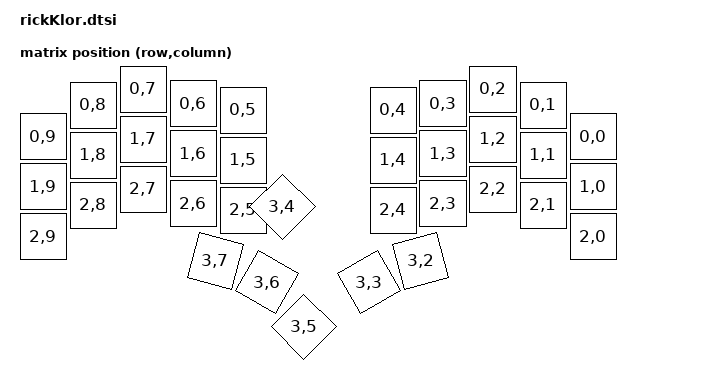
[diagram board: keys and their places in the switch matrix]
#include <physical_layouts.dtsi>
#include <dt-bindings/zmk/matrix_transform.h>

/ {
	chosen {
		zmk,physical-layout = &physical_layout0;
	};
	kscan0: kscan0 {
		compatible = "zmk,kscan-gpio-matrix";
		diode-direction = "col2row";
		wakeup-source;
		
	};
	
	transform: matrix_transform {
		compatible = "zmk,matrix-transform";
		rows = <4>;
		columns = <10>;
		
		map = <
		RC(0, 9) RC(0, 8) RC(0, 7) RC(0, 6) RC(0, 5) RC(0, 4) RC(0, 3) RC(0, 2) RC(0, 1) RC(0, 0)
		RC(1, 9) RC(1, 8) RC(1, 7) RC(1, 6) RC(1, 5) RC(1, 4) RC(1, 3) RC(1, 2) RC(1, 1) RC(1, 0)
		RC(2, 9) RC(2, 8) RC(2, 7) RC(2, 6) RC(2, 5) RC(2, 4) RC(2, 3) RC(2, 2) RC(2, 1) RC(2, 0)
		RC(3, 7) RC(3, 6) RC(3, 5) RC(3, 4) RC(3, 3) RC(3, 2)
		>;
	};
	
	
	physical_layout0: physical_layout_0 {
		compatible = "zmk,physical-layout";
		display-name = "Split Ortho 4x10";
		transform = <&transform>;
		kscan = <&kscan>;
		keys//                     w   h    x    y     rot    rx    ry
		= <&key_physical_attrs 100 100    0   95       0     0     0>
		, <&key_physical_attrs 100 100  100   32       0     0     0>
		, <&key_physical_attrs 100 100  200    0       0     0     0>
		, <&key_physical_attrs 100 100  300   29       0     0     0>
		, <&key_physical_attrs 100 100  400   42       0     0     0>
		, <&key_physical_attrs 100 100  700   42       0     0     0>
		, <&key_physical_attrs 100 100  800   29       0     0     0>
		, <&key_physical_attrs 100 100  900    0       0     0     0>
		, <&key_physical_attrs 100 100 1000   32       0     0     0>
		, <&key_physical_attrs 100 100 1100   95       0     0     0>
		, <&key_physical_attrs 100 100    0  195       0     0     0>
		, <&key_physical_attrs 100 100  100  132       0     0     0>
		, <&key_physical_attrs 100 100  200  100       0     0     0>
		, <&key_physical_attrs 100 100  300  129       0     0     0>
		, <&key_physical_attrs 100 100  400  142       0     0     0>
		, <&key_physical_attrs 100 100  700  142       0     0     0>
		, <&key_physical_attrs 100 100  800  129       0     0     0>
		, <&key_physical_attrs 100 100  900  100       0     0     0>
		, <&key_physical_attrs 100 100 1000  132       0     0     0>
		, <&key_physical_attrs 100 100 1100  195       0     0     0>
		, <&key_physical_attrs 100 100    0  295       0     0     0>
		, <&key_physical_attrs 100 100  100  232       0     0     0>
		, <&key_physical_attrs 100 100  200  200       0     0     0>
		, <&key_physical_attrs 100 100  300  229       0     0     0>
		, <&key_physical_attrs 100 100  400  242       0     0     0>
		, <&key_physical_attrs 100 100  700  242       0     0     0>
		, <&key_physical_attrs 100 100  800  229       0     0     0>
		, <&key_physical_attrs 100 100  900  200       0     0     0>
		, <&key_physical_attrs 100 100 1000  232       0     0     0>
		, <&key_physical_attrs 100 100 1100  295       0     0     0>
		, <&key_physical_attrs 100 100  330  355    1500   430   455>
		, <&key_physical_attrs 100 100  430  355    3000   430   455>
		, <&key_physical_attrs 100 100  530  355    4500   430   455>
		, <&key_physical_attrs 100 100  570  355   (-4500)   430   455>
		, <&key_physical_attrs 100 100  670  355 (-3000)   770   455>
		, <&key_physical_attrs 100 100  770  355 (-1500)   770   455>
		;
	};
};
